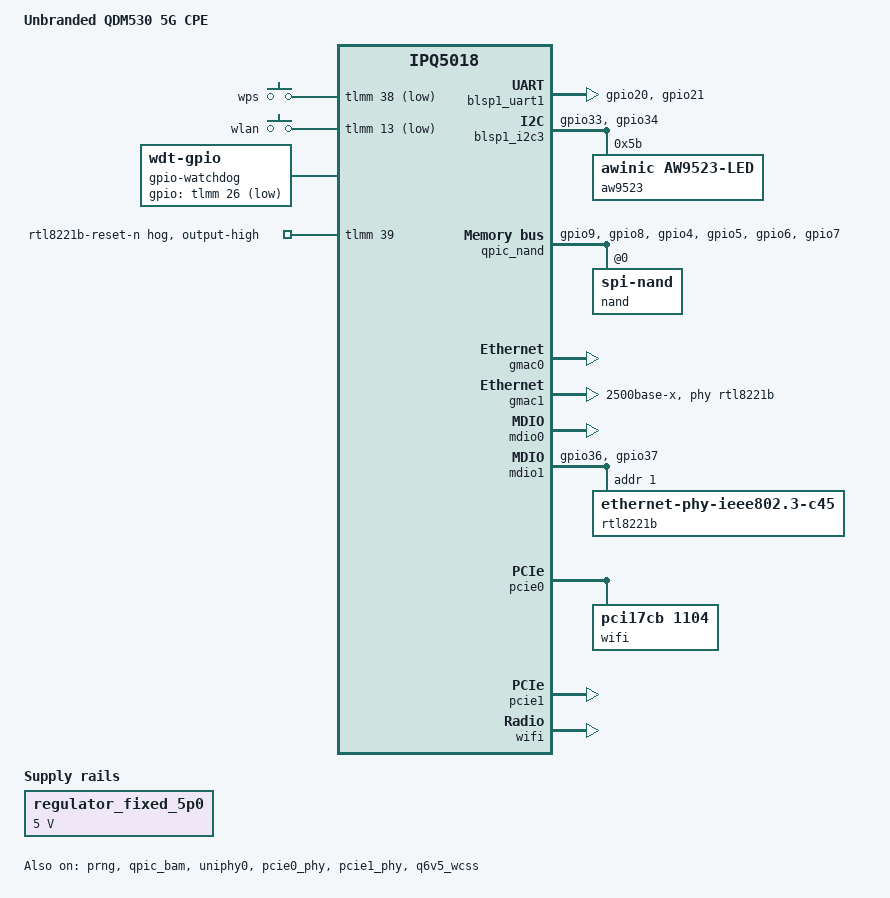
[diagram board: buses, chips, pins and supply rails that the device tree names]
// SPDX-License-Identifier: GPL-2.0-or-later OR MIT
/*
 * Unbranded 5G CPE, ODM board "QDM530-GL_V2.1"
 * Qualcomm reference design AP-MP03.6-C1 (RDP434 family).
 *
 * Hardware, as verified against the running vendor firmware
 * (QSDK / Chaos Calmer, kernel 4.4.60) via its live device tree in
 * /sys/firmware/devicetree/base, /sys/kernel/debug/pinctrl and dmesg:
 *
 *   SoC        IPQ5018, 2x Cortex-A53 @1.0GHz
 *   RAM        ~400 MiB usable (MemTotal 411440 kB)
 *   Flash      128 MiB SPI-NAND, GigaDevice F50D1G41LB (mfr 0xc8, chip 0x11)
 *   Console    ttyMSM0 @115200n8, 0x78af000, GPIO20/21 func blsp0_uart0
 *   Eth 1      IPQ5018 internal GE PHY, mdio0 addr 7           -> gmac0
 *   Eth 2      Realtek RTL8221B/RTL8226B 2.5G, mdio1 addr 1,
 *              Clause-45, reset GPIO39                         -> gmac1
 *   WiFi 2.4G  IPQ5018 internal radio (c000000.wifi)
 *   WiFi 5G    QCN9074 on PCIe1 (17cb:1104), PERST GPIO15
 *   Modem      Quectel RG520N-EB on PCIe0 (17cb:0308) via MHI,
 *              PERST GPIO18; also exposes USB AT/DIAG ports
 *   LED/GPIO   Awinic AW9523B I2C expander @0x5b on 0x78b7000,
 *              reset GPIO32, provides 16 further GPIOs
 *   Buttons    WPS GPIO38, WLAN GPIO13, both active low
 *
 * Differences from the closest supported board, GL.iNet GL-B3000
 * (variant AP-MP03.5-C1), that matter here: this board has no QCA8337
 * switch (two directly attached PHYs instead), and its second radio is a
 * PCIe QCN9074 rather than a QCN6122 on the Q6.
 */

/dts-v1/;

#include "ipq5018.dtsi"
#include "ipq5018-ess.dtsi"

#include <dt-bindings/gpio/gpio.h>
#include <dt-bindings/input/input.h>
#include <dt-bindings/leds/common.h>

/ {
	model = "Unbranded QDM530 5G CPE";
	compatible = "unbranded,qdm530", "qcom,ipq5018";

	aliases {
		serial0 = &blsp1_uart1;
		ethernet0 = &gmac0;
		ethernet1 = &gmac1;
		led-boot = &power_green;
		led-failsafe = &power_red;
		led-running = &power_green;
		led-upgrade = &power_red;
	};

	chosen {
		/*
		 * driver_async_probe=qcom-pcie: the vendor U-Boot force-injects the
		 * PCIe nodes into the kernel FDT (a status="disabled" or even a
		 * deleted node is put back), and pcie1 (the modem) does not train
		 * within the ~1s link-up wait - the RG520N endpoint only appears
		 * several seconds later - so that wait blocks the boot thread long
		 * enough that the kernel has not taken over the APSS watchdog before
		 * its bite -> reset loop. Probing qcom-pcie asynchronously frees the
		 * boot thread so the watchdog is handed over in time; pcie1 then trains
		 * off the critical path. (U-Boot builds the cmdline itself and ignores
		 * its bootargs env, so this has to live in the FDT bootargs-append.)
		 */
		bootargs-append = " root=/dev/ubiblock0_1 swiotlb=1 coherent_pool=2M";
		stdout-path = "serial0:115200n8";
	};

	keys {
		compatible = "gpio-keys";
		pinctrl-0 = <&button_pins>;
		pinctrl-names = "default";

		button-wps {
			label = "wps";
			gpios = <&tlmm 38 GPIO_ACTIVE_LOW>;
			linux,code = <KEY_WPS_BUTTON>;
			debounce-interval = <60>;
		};

		/*
		 * Vendor DT labels this "wlan". There is no reset button in the
		 * vendor device tree at all, so failsafe has to be entered over
		 * the serial console until proven otherwise.
		 */
		button-wlan {
			label = "wlan";
			gpios = <&tlmm 13 GPIO_ACTIVE_LOW>;
			linux,code = <KEY_RFKILL>;
			debounce-interval = <60>;
		};
	};

	/*
	 * External hardware watchdog. Without feeding it the board resets ~1.5s
	 * into the kernel (SBL reports "WDog Stat : 0x4"). This is the real reset
	 * source - NOT the APSS/TZ watchdog, which is why taking over b017000 and
	 * the SCM disable had no effect (both confirmed fed early with no effect).
	 *
	 * The kick line is tlmm 26, found empirically: the vendor U-Boot keeps the
	 * board alive at its prompt by toggling exactly this pin (dumping the TLMM
	 * GPIO_IN_OUT registers over several samples showed only gpio 26 alternating
	 * 0<->1). The sibling ipq5018-ax830/ax850 use tlmm 27, one pin off, which is
	 * why borrowing their node did nothing. hw_margin_ms is kept short (500 ms)
	 * because this board's WDT bites at ~1.5s, far sooner than the ax830/ax850
	 * 5000 ms; ARCH_INITCALL feeds it early in boot.
	 */
	gpio-watchdog {
		compatible = "linux,wdt-gpio";
		gpios = <&tlmm 26 GPIO_ACTIVE_LOW>;
		hw_algo = "toggle";
		hw_margin_ms = <500>;
		always-running;
	};

	/*
	 * The four front-panel RGB LEDs hang off the AW9523B expander on blsp1_i2c3
	 * (see &aw9523 below) and are driven by leds-aw9523 in the chip's
	 * constant-current LED mode. The per-channel map (which DIM channel lights
	 * which LED and colour) was found on HW and is recorded at that node. Plain
	 * GPIO drive does NOT light these LEDs - the pins must be in constant-current
	 * mode - which is why this is leds-aw9523 and not gpio-leds.
	 */

	/*
	 * USB VBUS rail, modelled as an always-on fixed 5V supply following
	 * ipq5018-mr5500.dts. Not verified against this board's schematic: if
	 * the rail turns out to be GPIO-gated, this needs gpio/enable-active-
	 * high here instead.
	 */
	regulator_fixed_5p0: regulator-s0500 {
		compatible = "regulator-fixed";
		regulator-min-microvolt = <5000000>;
		regulator-max-microvolt = <5000000>;
		regulator-name = "fixed_5p0";
		regulator-always-on;
		regulator-boot-on;
	};
};

&blsp1_uart1 {
	pinctrl-0 = <&serial_0_pins>;
	pinctrl-names = "default";
	status = "okay";
};

/* 0x78b7000, the bus the AW9523B sits on. */
&blsp1_i2c3 {
	pinctrl-0 = <&i2c_pins>;
	pinctrl-names = "default";
	status = "okay";

	/*
	 * AW9523B 16-channel I2C constant-current LED expander - the four
	 * front-panel RGB LEDs. Driven by leds-aw9523 (NOT pinctrl-aw9523): the pins
	 * run in the chip's constant-current LED mode, which is how these LEDs
	 * actually light (plain GPIO drive does nothing), and each channel shows up
	 * as a standard LED class device (color:function).
	 *
	 * No RSTN handling here, on purpose. pinctrl-aw9523 requires reset-gpios and
	 * pulsing RSTN (tlmm 32) at probe wedged the QUP I2C controller ("flush timed
	 * out", which also raced the rootfs probe); left at its power-on level the
	 * chip answers fine, so leds-aw9523 just soft-resets over I2C.
	 *
	 * reg = DIM channel index (DIM register 0x20 + reg). The map was found on HW
	 * by walking DIM 0x20-0x2f and watching the panel; the four LEDs, from the
	 * power button inward:
	 *   LED1 power : R=0  G=1  B=2
	 *   LED2 wan   : R=7  G=15 B=8
	 *   LED3 mobile: R=3  G=10 B=11   (red at reg 3 is noticeably dimmer)
	 *   LED4 status: G=13 B=14        (this LED has no red channel)
	 */
	aw9523: led-controller@5b {
		compatible = "awinic,aw9523-led";
		reg = <0x5b>;
		#address-cells = <1>;
		#size-cells = <0>;

		/* LED1 - power / system status */
		power_red: led@0 {
			reg = <0>;
			color = <LED_COLOR_ID_RED>;
			function = LED_FUNCTION_POWER;
		};

		power_green: led@1 {
			reg = <1>;
			color = <LED_COLOR_ID_GREEN>;
			function = LED_FUNCTION_POWER;
		};

		led@2 {
			reg = <2>;
			color = <LED_COLOR_ID_BLUE>;
			function = LED_FUNCTION_POWER;
		};

		/* LED2 - WAN / internet */
		led@7 {
			reg = <7>;
			color = <LED_COLOR_ID_RED>;
			function = LED_FUNCTION_WAN;
		};

		led@15 {
			reg = <15>;
			color = <LED_COLOR_ID_GREEN>;
			function = LED_FUNCTION_WAN;
		};

		led@8 {
			reg = <8>;
			color = <LED_COLOR_ID_BLUE>;
			function = LED_FUNCTION_WAN;
		};

		/* LED3 - mobile / cellular signal strength */
		led@3 {
			reg = <3>;
			color = <LED_COLOR_ID_RED>;
			function = LED_FUNCTION_MOBILE;
		};

		led@10 {
			reg = <10>;
			color = <LED_COLOR_ID_GREEN>;
			function = LED_FUNCTION_MOBILE;
		};

		led@11 {
			reg = <11>;
			color = <LED_COLOR_ID_BLUE>;
			function = LED_FUNCTION_MOBILE;
		};

		/* LED4 - status / modem mode (green + blue only) */
		led@13 {
			reg = <13>;
			color = <LED_COLOR_ID_GREEN>;
			function = LED_FUNCTION_STATUS;
		};

		led@14 {
			reg = <14>;
			color = <LED_COLOR_ID_BLUE>;
			function = LED_FUNCTION_STATUS;
		};
	};
};

&prng {
	status = "okay";
};

&qfprom {
	status = "disabled";
};

&qpic_bam {
	status = "okay";
};

&qpic_nand {
	pinctrl-0 = <&qpic_pins>;
	pinctrl-names = "default";
	status = "okay";

	/*
	 * GigaDevice F50D1G41LB: 128 MiB, SLC, 128 KiB erase, 2048 B page.
	 * Partitions are read at runtime from 0:MIBIB (at 0x80000), so the
	 * 19-entry vendor table does not need to be restated here. For
	 * reference it runs 0:SBL1, 0:MIBIB, 0:BOOTCONFIG{,1}, 0:QSEE{,_1},
	 * 0:DEVCFG{,_1}, 0:CDT{,_1}, 0:APPSBLENV, 0:APPSBL{,_1}, 0:ART,
	 * 0:TRAINING, rootfs, rootfs_1, usr_config, usr_factory - occupying
	 * 125 MiB of the 128 MiB device, with rootfs at 0x900000 (50944 KiB).
	 */
	nand@0 {
		compatible = "spi-nand";
		reg = <0>;
		nand-ecc-engine = <&qpic_nand>;
		nand-bus-width = <8>;

		partitions {
			compatible = "qcom,smem-part";
		};
	};
};

/*
 * This board stores no MAC address anywhere: 0:ART reads back all 0xff, the
 * U-Boot environment carries only the placeholder ethaddr=00:11:22:33:44:55 /
 * eth1addr=...:56, the usr_factory volume has none, and both WiFi BDFs contain
 * the same generic Atheros placeholders 00:03:7f:12:34:56..5b. There is also no
 * runtime-readable unique identifier (the SoC serial reads 0).
 *
 * A local-mac-address here would have no effect anyway: the vendor U-Boot
 * force-writes its placeholder ethaddr into both ethernet nodes during its FDT
 * fixup (the "ethN MAC Address from ART" pass), overriding whatever the DTS
 * carries - so the live DTB always ends up with 00:11:22:33:44:55 / :56.
 *
 * The MAC is therefore assigned at the OS level, after U-Boot: the uci-defaults
 * script 24_generate-macaddr generates a random locally-administered address
 * once on first boot and pins it in /etc/config/network (stable across reboots
 * and config-preserving sysupgrades), overriding U-Boot's placeholder for the
 * LAN bridge.
 *
 * TODO: this covers the ethernet/LAN identity only. Both WiFi radios still come
 * up on the BDF placeholder 00:03:7f:12:34:56..5b, because the usual fix-up
 * (ath11k_patch_mac from the caldata hotplug script) needs caldata this board
 * does not have. Giving the radios stable MACs will need a separate hook.
 */

/*
 * Eth 1: IPQ5018 internal GE PHY -> gmac0. phy-handle (&ge_phy) and phy-mode
 * ("sgmii") come from ipq5018-ess.dtsi; mdio0 (below) exposes the GE PHY.
 *
 * Enabled, matching the same-topology ipq5018-ax830/ax850 (internal GE PHY on
 * gmac0 + a 2.5G PHY on gmac1), which need nothing more than status/label
 * here. Disabling it in DT is not an option regardless: the vendor U-Boot
 * force-enables both ethernet nodes during its FDT fixup (the "ethN MAC
 * Address from ART" pass), so a status="disabled" here is overridden and the
 * port is probed anyway. The earlier boot loop was the missing UNIPHY0
 * reference clock (see &uniphy0), not gmac0 itself.
 */
&gmac0 {
	status = "okay";

	label = "lan1";
};

/* Eth 2: Realtek RTL8221B 2.5G PHY. */
&gmac1 {
	status = "okay";

	phy-handle = <&rtl8221b>;
	phy-mode = "2500base-x";

	label = "lan2";
};

&mdio0 {
	status = "okay";
};

&mdio1 {
	status = "okay";

	pinctrl-0 = <&mdio1_pins>;
	pinctrl-names = "default";

	/*
	 * TODO lan2 (RTL8221B): the PHY answers on MDIO only once the UNIPHY
	 * PCS for its 2500base-x port has been configured (PHY_MODE + PLL
	 * power-on + ref clock), which mainline's dwmac/phylink only does at
	 * link-config time - AFTER the boot-time phy attach - so at boot the PHY
	 * reads back "missing" (-ENODEV) and lan2 stays down. Confirmed the PHY
	 * is really at addr 1 via C45 (id 0x001c) once `ip link set lan2 up`
	 * runs the PCS config. The proper fix is to run that UNIPHY PCS config
	 * before the mdio scan / phy attach (a dwmac-ipq5018 / pcs-qca-uniphy
	 * ordering change); a clock-only enable was tried and is not sufficient.
	 */

	/*
	 * Realtek RTL8221B / RTL8226B-CG 2.5G PHY. Must be described as a
	 * generic Clause-45 PHY (not a fixed ethernet-phy-idXXXX.XXXX): the
	 * realtek driver identifies the exact variant by reading the C45 VND2
	 * registers via its .match_phy_device, and the fixed 0x001cc848 id we
	 * had did not match any of its entries (RTL_8221B 0x...c840 /
	 * VB_CG 0x...c849 / VM_CG 0x...c84a), so it fell back to the generic
	 * C45 PHY, which does not support 2500base-x -> "cannot attach to PHY
	 * (-EINVAL)". Every working RTL8221B in-tree (mt7622-wax206,
	 * mt7981b-alwaylink) uses this same generic-c45 compatible. Requires
	 * kmod-phy-realtek (CONFIG_REALTEK_PHY) in the image.
	 *
	 * The RSTN reset lives on the PHY node (not the mdio bus node) with a
	 * post-deassert delay, matching the working sibling ipq5018-ax830/ax850:
	 * on the bus node without reset-deassert-us the PHY was still coming out
	 * of reset when the bus was scanned -> "MDIO device at address 1 is
	 * missing" / -ENODEV. tlmm 39, RSTN active-low, 10 ms settle.
	 */
	rtl8221b: ethernet-phy@1 {
		compatible = "ethernet-phy-ieee802.3-c45";
		reg = <1>;
		/*
		 * RSTN is deasserted by the gpio-hog on tlmm 39 (see &tlmm) at
		 * gpiochip probe - i.e. before the 90000.mdio bus is scanned at
		 * ~1.5s - rather than by reset-gpios on this node. With reset-gpios
		 * here the mdio core only pulses the reset while it probes the PHY,
		 * and on our board the PHY needs to be out of reset AND have the
		 * UNIPHY reference clock (see &uniphy0 / CLK_IS_CRITICAL) before it
		 * answers on MDIO; a pulsed reset released on the first failed read
		 * left the PHY missing. The hog keeps RSTN deasserted for good.
		 */
	};
};

/*
 * UNIPHY0 is the PCS/SerDes that clocks the GMAC ports. Without a reference
 * clock configured here the dwmac register/DMA access hangs the SoC during
 * probe (right after reading "Synopsys ID"), which stalls the watchdog and
 * silently resets -> boot loop. 50 MHz is the rate the 2.5G (2500base-x)
 * ports need, matching the same-topology ipq5018-ax830/ax850 (gmac0 internal
 * GE PHY + gmac1 2500base-x to an external PHY). gl-b3000/mr5500 use 25 MHz
 * only because their gmac1 is plain SGMII to a QCA8337 switch.
 */
&uniphy0 {
	status = "okay";

	assigned-clocks = <&uniphy0 UNIPHY_CLK_REF>;
	assigned-clock-rates = <UNIPHY_REFCLK_50MHZ>;
};

/*
 * The APSS watchdog is left ENABLED so the kernel's qcom_wdt takes over the
 * one U-Boot arms across the bootm hand-off. A clean serial capture showed the
 * boot reset at ~1.5s with no panic - a silent watchdog bite - which happens
 * when the kernel has not taken the watchdog over in time. The delay was the
 * PCIe link-up wait (pcie1/modem never trains); it is cut down by probing PCIe
 * asynchronously (driver_async_probe=* in chosen) and by the shortened
 * PCIE_LINK_WAIT patch, so qcom_wdt now probes and pets well before the bite.
 */

&sleep_clk {
	clock-frequency = <32000>;
};

&xo_board_clk {
	clock-div = <4>;
	clock-mult = <1>;
};

/*
 * USB 3.0 host controller - DISABLED on this board.
 *
 * The IPQ5018 has a single combo PCIe/USB3 PHY at 0x7e000, shared between the
 * pcie1 controller (the 5G modem) and USB SuperSpeed and switched by the TCSR
 * phy-mux (0x10540). This board uses pcie1 for the modem WAN, so the combo PHY
 * must stay with PCIe: enabling the USB3 PHY flips the mux to USB and the pcie1
 * PHY then reads all-zero and the modem never trains (see &usbphy1 and
 * docs/qdm530/pcie1-modem-combo-phy.md). And mainline dwc3 refuses to register
 * its core without the SuperSpeed PHY ("dwc3-qcom: failed to register DWC3 Core"
 * / xhci "can't setup: -110"), so there is no USB2-only fallback - with usbphy1
 * off the whole dwc3 controller is dead. Rather than leave it stuck in a
 * permanent deferred-probe failure, the controller and its HS PHY are disabled.
 *
 * Consequence: no USB host on the board - the modem's USB AT/DIAG ports do NOT
 * enumerate and a USB-tethering/dongle WAN is not available. The modem is
 * reached over PCIe/MHI instead (QMI-over-QRTR; AT, where the modem exposes it,
 * over QMI). Running USB and pcie1 at once would need the vendor's TCSR-mux
 * arrangement (write the mux to 0), which is not implemented here.
 */
&usbphy0 {
	status = "disabled";

	vdd-supply = <&regulator_fixed_5p0>;
};

&usbphy1 {
	/*
	 * USB3 SuperSpeed PHY disabled: the pcie1 PHY (0x7e000) is a COMBO
	 * PCIe/USB3 PHY, and enabling USB3 steals it from pcie1 via the TCSR
	 * phy-mux (0x10540) - the PHY then reads all-zero and the modem never
	 * trains. Kept off so the combo PHY stays with pcie1. See
	 * docs/qdm530/pcie1-modem-combo-phy.md.
	 */
	status = "disabled";

	vdd-supply = <&regulator_fixed_5p0>;
};

&usb {
	#address-cells = <1>;
	#size-cells = <0>;

	dr_mode = "host";

	status = "disabled";

	usb_port1: port@1 {
		reg = <1>;
		#trigger-source-cells = <0>;
	};
};

/*
 * Mind the numbering: mainline labels the 0xa0000000 controller pcie0 and
 * the 0x80000000 one pcie1, which is the opposite of the Linux PCI domain
 * numbering the vendor kernel reports. The assignment below follows the
 * vendor DT's phy phandles - 0xa0000000 uses phy@86000 (pcie0_phy) and
 * 0x80000000 uses phy@7e000 (pcie1_phy) - and matches the in-tree Linksys
 * MR5500, which also hangs a QCN9074 off &pcie0 with PERST on GPIO15.
 */

/* PCIe0 (0xa0000000): QCN9074 5 GHz radio. */
&pcie0_phy {
	status = "okay";
};

&pcie0 {
	status = "okay";

	perst-gpios = <&tlmm 15 GPIO_ACTIVE_LOW>;

	pcie@0 {
		wifi@0,0 {
			status = "okay";

			/* QCN9074: ath11k lacks a DT compatible for PCI cards */
			compatible = "pci17cb,1104";
			reg = <0x00010000 0 0 0 0>;

			qcom,ath11k-calibration-variant = "Unbranded-QDM530";
		};
	};
};

/*
 * PCIe1 (0x80000000): Quectel RG520N-EB 5G modem (17cb:0308), over MHI.
 *
 * The modem is a full SDX65 that boots its own firmware and only presents its
 * PCIe endpoint several seconds after power-on (it reaches MHI mission mode
 * late), so qcom-pcie's ~1.6s probe logs "Phy link never came up" - harmless:
 * the LTSSM is left enabled and the link trains in hardware once the endpoint
 * is ready. No child/endpoint node is needed: mhi_pci_generic binds by PCI ID
 * (17cb:0308 -> qcom-sdx65m). The modem boots from its own flash into mission
 * mode, so no host firmware blob is loaded for normal operation (the .fw/.edl
 * in the driver are EDL-recovery only). Data rides the IP_HW0 (rmnet/QMAP)
 * channel; control is QMI-over-QRTR (mhi0_IPCR), brought up by wwand
 * (device=qrtr). No modem-power regulator: the modem powers itself on this
 * board. See docs/qdm530/pcie1-modem-combo-phy.md.
 *
 * Two things had to be right for the link to train (both verified on HW):
 *   1. usbphy1 (USB3) OFF - the pcie1 PHY is a combo PCIe/USB3 PHY and USB3
 *      steals it via the TCSR mux (see &usbphy1).
 *   2. PERST# polarity - see the perst-gpios note below.
 */
&pcie1_phy {
	status = "okay";
};

&pcie1 {
	status = "okay";

	/*
	 * PERST# on GPIO18 is ACTIVE_LOW (standard PCIe), matching the Cudy P5,
	 * the mainline IPQ5018 board that also trains an RG520N/RM520N on pcie1.
	 * qcom_perst_assert() deasserts with gpiod value 0, so ACTIVE_LOW ->
	 * physical HIGH = PERST# released = the modem endpoint comes out of reset.
	 * (An earlier ACTIVE_HIGH attempt drove GPIO18 LOW at deassert, holding the
	 * modem in reset forever -> LTSSM stuck in DETECT_QUIET.)
	 */
	perst-gpios = <&tlmm 18 GPIO_ACTIVE_LOW>;
};

&q6v5_wcss {
	status = "okay";

	firmware-name = "ath11k/IPQ5018/hw1.0/q6_fw.mdt",
			"ath11k/IPQ5018/hw1.0/m3_fw.mdt";
};

/*
 * 2.4 GHz radio internal to the IPQ5018.
 *
 * This takes the whole Q6 (qcom,rproc = <&q6v5_wcss>), unlike GL-B3000,
 * which splits it into userpds because its QCN6122 companion radio shares
 * the same Q6. Here the second radio is a PCIe QCN9074 with its own
 * firmware, so there is nothing to share and no userpd to reference -
 * q6_wcss_pd1 only exists in ipq5018-qcn6122.dtsi, which this board does
 * not include. Same arrangement as the in-tree Linksys MR5500.
 */
&wifi {
	/*
	 * 2.4 GHz radio re-enabled 2026-09-19 for the full image. It was only
	 * disabled during watchdog bring-up to keep early boot short; the
	 * watchdog is now fed by the gpio-watchdog (tlmm 26), so the extra
	 * probe time is harmless.
	 */
	status = "okay";

	qcom,rproc = <&q6v5_wcss>;
	qcom,ath11k-calibration-variant = "Unbranded-QDM530";
	qcom,ath11k-fw-memory-mode = <1>;
};

&tlmm {
	/*
	 * Hold the RTL8221B 2.5G PHY (lan2) out of reset from gpiochip probe -
	 * long before the 90000.mdio bus is scanned. RSTN is active-low, so
	 * output-high = out of reset. Doing it as a hog (not reset-gpios on the
	 * PHY node) keeps the line deasserted permanently; a pulsed reset was
	 * released on the first failed MDIO read and the PHY read back missing.
	 */
	rtl8221b_reset_hog: rtl8221b-reset-hog {
		gpio-hog;
		gpios = <39 GPIO_ACTIVE_HIGH>;
		output-high;
		line-name = "rtl8221b-reset-n";
	};

	serial_0_pins: uart0-state {
		pins = "gpio20", "gpio21";
		function = "blsp0_uart0";
		drive-strength = <8>;
		bias-disable;
	};

	i2c_pins: i2c-state {
		pins = "gpio33", "gpio34";
		function = "blsp2_i2c0";
		drive-strength = <8>;
		drive-open-drain;
		bias-pull-up;
	};

	mdio1_pins: mdio-state {
		mdc-pins {
			pins = "gpio36";
			function = "mdc";
			drive-strength = <8>;
			bias-pull-up;
		};

		mdio-pins {
			pins = "gpio37";
			function = "mdio";
			drive-strength = <8>;
			bias-pull-up;
		};
	};

	button_pins: button-state {
		pins = "gpio13", "gpio38";
		function = "gpio";
		drive-strength = <8>;
		bias-pull-up;
	};

	qpic_pins: qpic-state {
		clock-pins {
			pins = "gpio9";
			function = "qspi_clk";
			drive-strength = <8>;
			bias-disable;
		};

		cs-pins {
			pins = "gpio8";
			function = "qspi_cs";
			drive-strength = <8>;
			bias-disable;
		};

		data-pins {
			pins = "gpio4", "gpio5", "gpio6", "gpio7";
			function = "qspi_data";
			drive-strength = <8>;
			bias-disable;
		};
	};
};

/*
 * NAND is left ENABLED (configured above at &qpic_nand/&qpic_bam): the flashed
 * image roots on the squashfs UBI volume on NAND, so the controller must probe.
 * It was only disabled for the throwaway RAM initramfs (~0.46s scan saved when
 * racing the watchdog); the external WDT is now fed (see the gpio-watchdog node
 * on tlmm 26), so the NAND probe time no longer matters.
 */

/*
 * Thermal sensor (tsens) DISABLED - a hardware limitation, not just a workaround.
 * This board's calibration fuses are unprogrammed: the vendor firmware's own tsens
 * already logs "qcom-tsens 4a8000.thermal-sensor: tsens calibration failed", so SoC
 * thermal sensing never worked on this unit (cf. the all-0xff WiFi caldata and the
 * qfprom reads that crash the SoC - the same unprovisioned OTP). On mainline the
 * uncalibrated tsens probe is also deferred (its qfprom/nvmem cells come up late) and
 * runs at ~9.4s, after "Freeing unused kernel memory" freed the __init sections; its
 * probe then calls init_tsens_v1_no_rpm() (an __init function) and the CPU faults on
 * the freed code (IABT / level-3 translation fault) -> Oops -> reset loop. So tsens
 * is disabled. Fixing the __init-after-free would only yield an uncalibrated (failed)
 * reading like the vendor's; the modem carries its own thermal mitigation.
 */
&tsens {
	status = "disabled";
};
